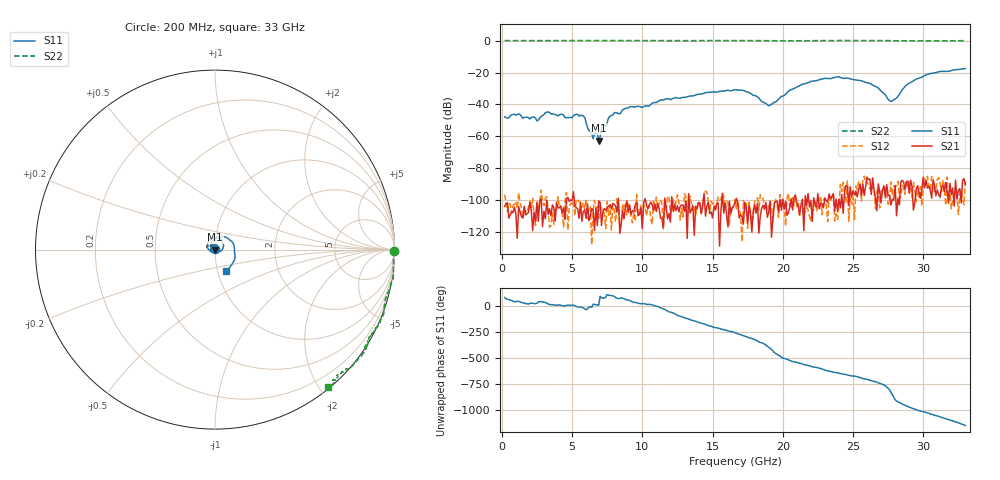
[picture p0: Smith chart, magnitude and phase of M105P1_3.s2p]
# GHZ S RI R 50
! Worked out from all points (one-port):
!   329 points, 200 MHz to 33 GHz, reference 50 ohm
!   lowest |S11| = -62.6 dB at 6.9 GHz (marker M1), VSWR 1.00, Z = 50.1 + j0.0113 ohm
!   |S11| at or under -10 dB: start of sweep to end of sweep
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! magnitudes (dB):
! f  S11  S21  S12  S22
! 200 MHz  -47.7  -103.9  -96.5  0.0
! 1.2 GHz  -45.9  -104.1  -95.5  0.0
! 2.5 GHz  -50.3  -101.1  -102.4  0.0
! 3.2 GHz  -44.8  -99.9  -97.8  0.0
! 5.7 GHz  -46.9  -113.2  -104.4  0.0
! 5.9 GHz  -48.1  -106.2  -105.9  0.0
! 6.5 GHz  -61.5  -105.9  -106.1  0.0
! 6.7 GHz  -57.7  -104.9  -105.5  0.1
! 6.9 GHz  -62.6  -100.4  -111.5  0.0
! 7.1 GHz  -54.9  -115.9  -105.9  0.0
! 8 GHz  -45.3  -102.6  -106.4  0.0
! 11.2 GHz  -37.8  -105.3  -102.0  -0.1
! 16.6 GHz  -30.8  -101.8  -99.6  0.0
! 17.6 GHz  -32.6  -103.4  -101.2  0.0
! 19 GHz  -40.9  -107.7  -102.6  -0.1
! 22.1 GHz  -25.5  -113.3  -106.3  0.0
! 24 GHz  -22.6  -99.3  -103.2  0.0
! 25.5 GHz  -25.0  -89.8  -90.5  0.0
! 26.8 GHz  -29.7  -89.8  -91.9  0.0
! 27.6 GHz  -37.5  -97.1  -100.6  0.0
! 30.2 GHz  -21.5  -87.5  -88.1  -0.2
! 33 GHz  -17.6  -90.3  -88.3  -0.1
